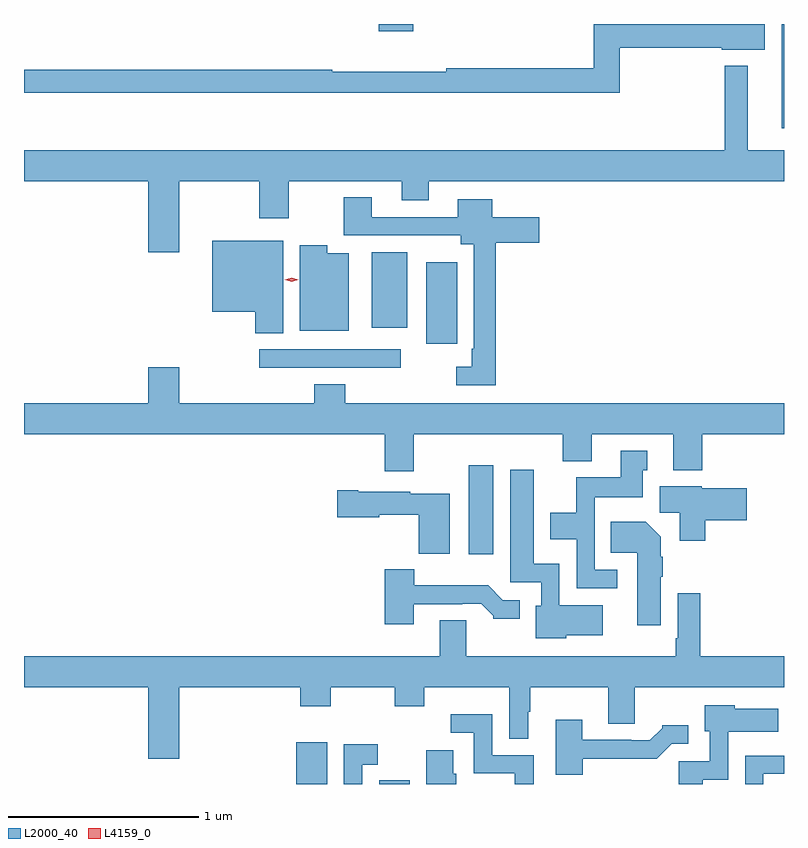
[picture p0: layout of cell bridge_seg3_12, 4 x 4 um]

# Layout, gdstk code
import gdstk
lib = gdstk.Library(unit=1e-6, precision=1e-09)
def R(c, l, rs):  # rectangles x0, y0, x1, y1
    for r in rs: c.add(gdstk.rectangle(r[:2], r[2:], *l))
def P(c, l, *ps):  # polygons
    for p in ps: c.add(gdstk.Polygon(p, *l))
L2000_40 = (2000, 40)
L4159_0 = (4159, 0)

bridge_seg3_12 = lib.new_cell('bridge_seg3_12')
R(bridge_seg3_12, L2000_40, [(753.2,743.032,753.361,743.251), (753.635,743.032,753.796,743.052), (754.106,744.24,754.237,744.709), (753.003,745.224,753.748,745.32), (753.884,745.35,754.045,745.777), (753.596,745.433,753.784,745.831), (755.753,746.483,755.766,747.032), (753.632,746.994,753.815,747.032)])
P(bridge_seg3_12, L2000_40, [(754.901,746.908),(755.438,746.908),(755.438,746.897),(755.665,746.897),(755.665,747.032),(754.765,747.032),(754.765,746.798),(753.988,746.798),(753.988,746.78),(753.388,746.78),(753.388,746.791),(751.766,746.791),(751.766,746.67),(754.901,746.67)],
  [(752.584,746.204),(753.004,746.204),(753.004,746.01),(753.159,746.01),(753.159,746.204),(753.755,746.204),(753.755,746.105),(753.895,746.105),(753.895,746.204),(755.766,746.204),(755.766,746.368),(755.575,746.368),(755.575,746.812),(755.454,746.812),(755.454,746.368),(751.766,746.368),(751.766,746.204),(752.42,746.204),(752.42,745.83),(752.584,745.83)],
  [(754.25,745.88),(754.477,745.88),(754.477,746.014),(754.231,746.014),(754.231,746.11),(754.049,746.11),(754.049,746.016),(753.595,746.016),(753.595,746.119),(753.448,746.119),(753.448,745.92),(754.064,745.92),(754.064,745.874),(754.134,745.874),(754.134,745.324),(754.122,745.324),(754.122,745.227),(754.041,745.227),(754.041,745.131),(754.25,745.131)],
  [(753.13,745.891),(752.756,745.891),(752.756,745.517),(752.984,745.517),(752.984,745.405),(753.13,745.405)],
  [(753.475,745.825),(753.361,745.825),(753.361,745.867),(753.218,745.867),(753.218,745.418),(753.475,745.418)],
  [(753.817,744.872),(754.601,744.872),(754.601,744.731),(754.753,744.731),(754.753,744.872),(755.183,744.872),(755.183,744.683),(755.336,744.683),(755.336,744.872),(755.766,744.872),(755.766,745.036),(753.458,745.036),(753.458,745.135),(753.293,745.135),(753.293,745.036),(752.584,745.036),(752.584,745.225),(752.42,745.225),(752.42,745.036),(751.766,745.036),(751.766,744.872),(753.665,744.872),(753.665,744.678),(753.817,744.678)],
  [(754.888,744.159),(754.77,744.159),(754.77,744.542),(755.023,744.542),(755.023,744.684),(755.047,744.684),(755.047,744.787),(754.907,744.787),(754.907,744.646),(754.672,744.646),(754.672,744.46),(754.535,744.46),(754.535,744.32),(754.674,744.32),(754.674,744.063),(754.888,744.063)],
  [(754.62,743.816),(754.813,743.816),(754.813,743.974),(754.584,743.974),(754.584,744.19),(754.45,744.19),(754.45,744.685),(754.325,744.685),(754.325,744.093),(754.488,744.093),(754.488,743.97),(754.46,743.97),(754.46,743.798),(754.62,743.798)],
  [(755.351,744.419),(755.569,744.419),(755.569,744.589),(755.334,744.589),(755.334,744.598),(755.111,744.598),(755.111,744.46),(755.216,744.46),(755.216,744.312),(755.351,744.312)],
  [(754.006,744.559),(753.798,744.559),(753.798,744.571),(753.526,744.571),(753.526,744.579),(753.414,744.579),(753.414,744.437),(753.636,744.437),(753.636,744.449),(753.844,744.449),(753.844,744.245),(754.006,744.245)],
  [(755.116,744.124),(755.129,744.124),(755.129,744.227),(755.116,744.227),(755.116,744.334),(755.038,744.412),(754.855,744.412),(754.855,744.248),(754.994,744.248),(754.994,743.868),(755.116,743.868)],
  [(753.817,743.979),(754.073,743.979),(754.073,743.982),(754.172,743.982),(754.236,743.918),(754.236,743.903),(754.375,743.903),(754.375,744),(754.287,744),(754.209,744.079),(753.82,744.079),(753.82,744.163),(753.665,744.163),(753.665,743.874),(753.817,743.874)],
  [(752.584,743.54),(753.221,743.54),(753.221,743.441),(753.381,743.441),(753.381,743.54),(753.718,743.54),(753.718,743.441),(753.873,743.441),(753.873,743.54),(754.319,743.54),(754.319,743.269),(754.42,743.269),(754.42,743.412),(754.43,743.412),(754.43,743.54),(754.841,743.54),(754.841,743.35),(754.981,743.35),(754.981,743.54),(755.766,743.54),(755.766,743.704),(755.324,743.704),(755.324,744.037),(755.208,744.037),(755.208,743.8),(755.196,743.8),(755.196,743.704),(754.093,743.704),(754.093,743.894),(753.953,743.894),(753.953,743.704),(751.766,743.704),(751.766,743.54),(752.42,743.54),(752.42,743.166),(752.584,743.166)],
  [(755.338,743.054),(755.472,743.054),(755.472,743.306),(755.737,743.306),(755.737,743.428),(755.508,743.428),(755.508,743.446),(755.348,743.446),(755.348,743.31),(755.376,743.31),(755.376,743.151),(755.213,743.151),(755.213,743.032),(755.338,743.032)],
  [(754.45,743.184),(754.23,743.184),(754.23,743.398),(754.011,743.398),(754.011,743.301),(754.134,743.301),(754.134,743.088),(754.349,743.088),(754.349,743.032),(754.45,743.032)],
  [(754.708,743.166),(755.097,743.166),(755.175,743.244),(755.263,743.244),(755.263,743.341),(755.124,743.341),(755.124,743.326),(755.06,743.262),(754.961,743.262),(754.961,743.265),(754.705,743.265),(754.705,743.371),(754.565,743.371),(754.565,743.081),(754.708,743.081)],
  [(753.546,743.133),(753.628,743.133),(753.628,743.242),(753.45,743.242),(753.45,743.032),(753.546,743.032)],
  [(754.042,743.085),(754.024,743.085),(754.024,743.209),(753.884,743.209),(753.884,743.032),(754.042,743.032)],
  [(755.658,743.085),(755.766,743.085),(755.766,743.181),(755.562,743.181),(755.562,743.032),(755.658,743.032)])
P(bridge_seg3_12, L4159_0, [(753.174,745.676),(753.139,745.686),(753.138,745.686),(753.139,745.687),(753.174,745.696),(753.21,745.686),(753.21,745.685),(753.21,745.685)])

lib.write_gds('bridge_seg3_12.gds')
